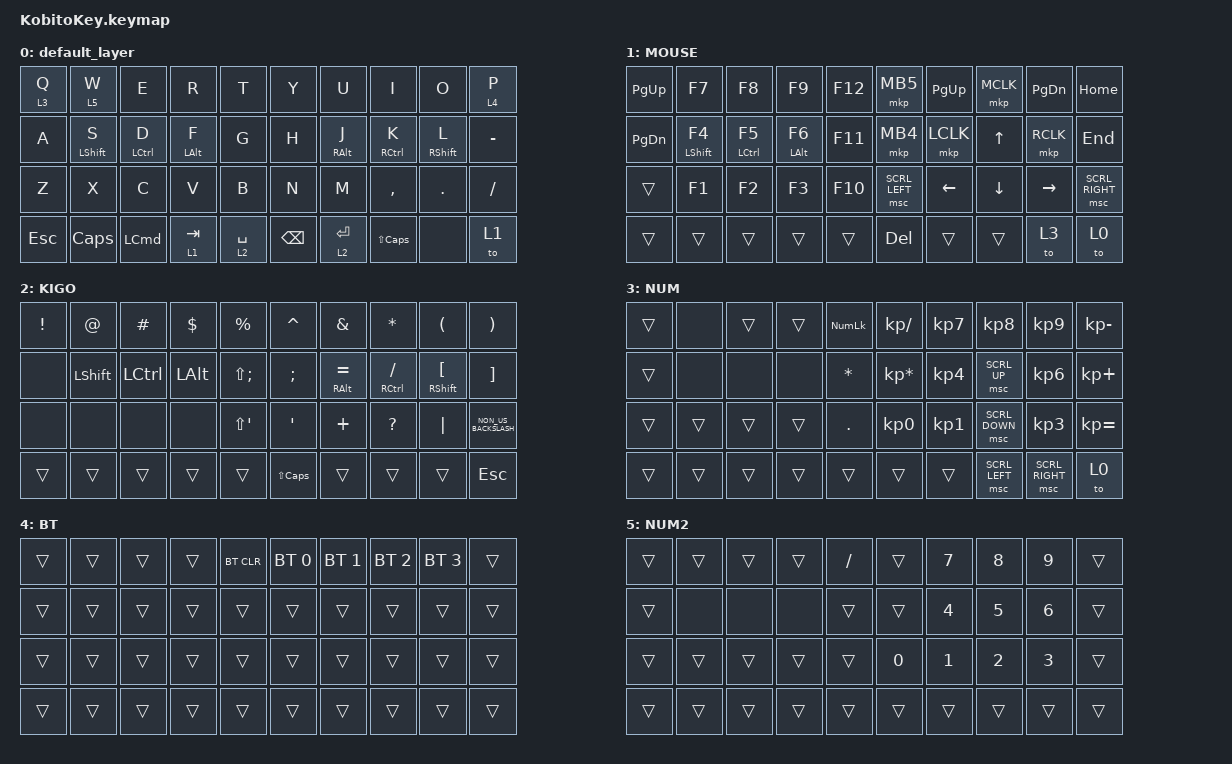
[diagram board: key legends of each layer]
#include <behaviors.dtsi>
#include <dt-bindings/zmk/bt.h>
#include <dt-bindings/zmk/keys.h>
#include <dt-bindings/zmk/pointing.h>

/ {
    behaviors {
        hm: home_row_mods {
            compatible = "zmk,behavior-hold-tap";
            #binding-cells = <2>;
            tapping-term-ms = <400>;
            quick-tap-ms = <200>;
            require-prior-idle-ms = <250>;
            flavor = "balanced";
            bindings = <&kp>, <&kp>;
        };
        custom_lt: custom_layer_taps {
            compatible = "zmk,behavior-hold-tap";
            #binding-cells = <2>;
            tapping-term-ms = <300>;
            quick-tap-ms = <200>;
            require-prior-idle-ms = <150>;
            flavor = "balanced";
            bindings = <&mo>, <&kp>;
        };
    };
};

&mt {
    flavor = "hold-preferred";
    tapping-term-ms = <170>;
};

/ {
    combos { compatible = "zmk,combos"; };

    keymap {
        compatible = "zmk,keymap";

        default_layer {
            bindings = <
&custom_lt 3 Q  &custom_lt 5 W    &kp E        &kp R            &kp T              &kp Y           &kp U           &kp I           &kp O      &custom_lt 4 P
&kp A           &hm LEFT_SHIFT S  &hm LCTRL D  &hm LEFT_ALT F   &kp G              &kp H           &hm RIGHT_ALT J &hm RCTRL K     &hm RSHFT L &kp MINUS
&kp Z           &kp X             &kp C        &kp V            &kp B              &kp N           &kp M           &kp COMMA       &kp DOT    &kp SLASH
&kp ESC         &kp CAPSLOCK      &kp LCMD     &custom_lt 1 TAB &custom_lt 2 SPACE &kp BSPC        &custom_lt 2 ENTER &kp LS(CAPSLOCK) &none  &to 1
            >;
        };

        MOUSE {
            bindings = <
&kp PAGE_UP    &kp F7        &kp F8        &kp F9          &kp F12  &mkp MB5         &kp PAGE_UP  &mkp MCLK  &kp PAGE_DOWN  &kp HOME
&kp PAGE_DOWN  &hm LSHFT F4  &hm LCTRL F5  &hm LEFT_ALT F6 &kp F11  &mkp MB4         &mkp LCLK    &kp UP     &mkp RCLK      &kp END
&trans         &kp F1        &kp F2        &kp F3          &kp F10  &msc SCRL_LEFT   &kp LEFT     &kp DOWN   &kp RIGHT      &msc SCRL_RIGHT
&trans         &trans        &trans        &trans          &trans   &kp DELETE       &trans       &trans     &to 3          &to 0
            >;
        };

        KIGO {
            bindings = <
&kp EXCLAMATION  &kp AT_SIGN  &kp HASH   &kp DOLLAR    &kp PERCENT        &kp CARET      &kp AMPERSAND   &kp ASTERISK    &kp LEFT_PARENTHESIS    &kp RIGHT_PARENTHESIS
&none            &kp LSHFT    &kp LCTRL  &kp LEFT_ALT  &kp LS(SEMICOLON)  &kp SEMICOLON  &hm RALT EQUAL  &hm RCTRL SLASH &hm RSHFT LEFT_BRACKET  &kp RIGHT_BRACKET
&none            &none        &none      &none         &kp LS(SQT)        &kp SQT        &kp PLUS        &kp QUESTION    &kp PIPE                &kp NON_US_BACKSLASH
&trans           &trans       &trans     &trans        &trans             &kp LS(CAPS)   &trans          &trans          &trans                  &kp ESCAPE
            >;
        };

        NUM {
            bindings = <
&trans  &none   &trans  &trans  &kp KP_NUMLOCK  &kp KP_SLASH    &kp KP_N7  &kp KP_N8       &kp KP_N9        &kp KP_MINUS
&trans  &none   &none   &none   &kp ASTERISK    &kp KP_MULTIPLY &kp KP_N4  &msc SCRL_UP    &kp KP_N6        &kp KP_PLUS
&trans  &trans  &trans  &trans  &kp PERIOD      &kp KP_NUMBER_0 &kp KP_N1  &msc SCRL_DOWN  &kp KP_N3        &kp KP_EQUAL
&trans  &trans  &trans  &trans  &trans          &trans          &trans     &msc SCRL_LEFT  &msc SCRL_RIGHT  &to 0
            >;
        };

        BT {
            bindings = <
&trans &trans &trans &trans &bt BT_CLR  &bt BT_SEL 0  &bt BT_SEL 1  &bt BT_SEL 2  &bt BT_SEL 3  &trans
&trans &trans &trans &trans &trans      &trans        &trans        &trans        &trans        &trans
&trans &trans &trans &trans &trans      &trans        &trans        &trans        &trans        &trans
&trans &trans &trans &trans &trans      &trans        &trans        &trans        &trans        &trans
            >;
        };

        NUM2 {
            bindings = <
&trans &trans &trans &trans &kp SLASH &trans &kp N7 &kp N8 &kp N9 &trans
&trans &none  &none  &none  &trans    &trans &kp N4 &kp N5 &kp N6 &trans
&trans &trans &trans &trans &trans    &kp N0 &kp N1 &kp N2 &kp N3 &trans
&trans &trans &trans &trans &trans    &trans &trans &trans &trans &trans
            >;
        };
    };
};
